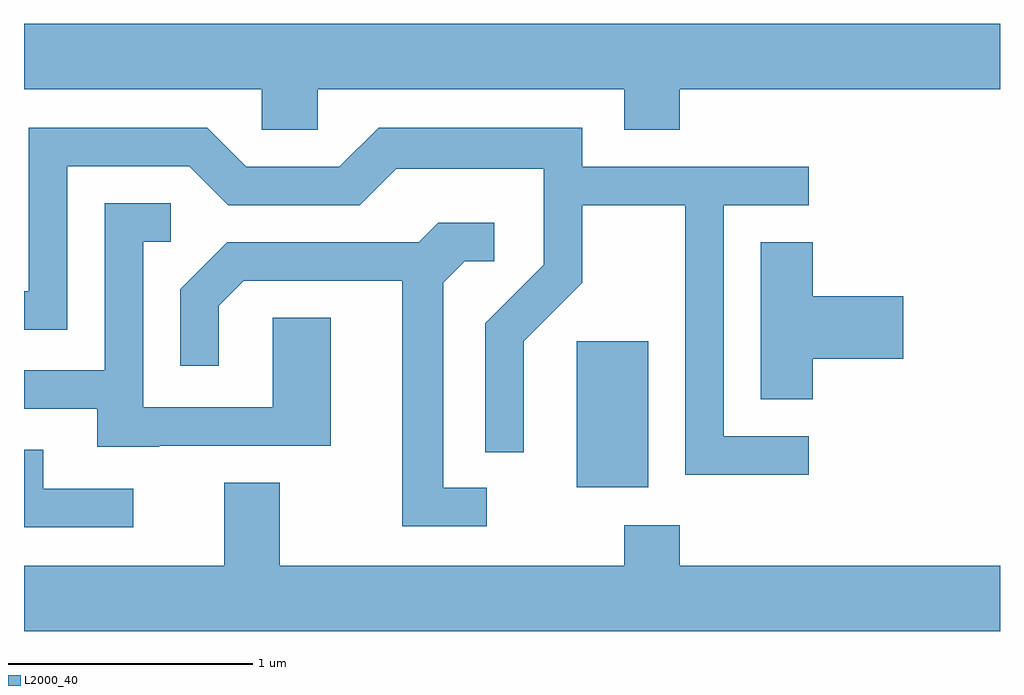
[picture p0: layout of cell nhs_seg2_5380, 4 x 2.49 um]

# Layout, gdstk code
import gdstk
lib = gdstk.Library(unit=1e-6, precision=1e-09)
def R(c, l, rs):  # rectangles x0, y0, x1, y1
    for r in rs: c.add(gdstk.rectangle(r[:2], r[2:], *l))
def P(c, l, *ps):  # polygons
    for p in ps: c.add(gdstk.Polygon(p, *l))
L2000_40 = (2000, 40)

nhs_seg2_5380 = lib.new_cell('nhs_seg2_5380')
R(nhs_seg2_5380, L2000_40, [(345.876,1055.566,346.169,1056.164)])
P(nhs_seg2_5380, L2000_40, [(344.814,1057.196),(346.071,1057.196),(346.071,1057.031),(346.299,1057.031),(346.299,1057.196),(347.611,1057.196),(347.611,1057.464),(343.611,1057.464),(343.611,1057.196),(344.586,1057.196),(344.586,1057.031),(344.814,1057.031)],
  [(346.828,1055.774),(346.479,1055.774),(346.479,1056.721),(346.828,1056.721),(346.828,1056.879),(345.899,1056.879),(345.899,1057.039),(345.064,1057.039),(344.904,1056.879),(344.522,1056.879),(344.362,1057.039),(343.631,1057.039),(343.631,1056.369),(343.611,1056.369),(343.611,1056.211),(343.789,1056.211),(343.789,1056.881),(344.289,1056.881),(344.449,1056.721),(344.987,1056.721),(345.137,1056.871),(345.741,1056.871),(345.741,1056.477),(345.501,1056.237),(345.501,1055.708),(345.659,1055.708),(345.659,1056.164),(345.899,1056.404),(345.899,1056.721),(346.321,1056.721),(346.321,1055.616),(346.828,1055.616)],
  [(344.165,1055.736),(344.869,1055.736),(344.869,1056.259),(344.631,1056.259),(344.631,1055.894),(344.099,1055.894),(344.099,1056.571),(344.213,1056.571),(344.213,1056.729),(343.941,1056.729),(343.941,1056.044),(343.611,1056.044),(343.611,1055.886),(343.911,1055.886),(343.911,1055.731),(344.165,1055.731)],
  [(345.508,1055.564),(345.329,1055.564),(345.329,1056.404),(345.417,1056.491),(345.538,1056.491),(345.538,1056.649),(345.309,1056.649),(345.229,1056.569),(344.444,1056.569),(344.251,1056.377),(344.251,1056.063),(344.409,1056.063),(344.409,1056.309),(344.512,1056.411),(345.161,1056.411),(345.161,1055.406),(345.508,1055.406)],
  [(346.844,1056.091),(347.214,1056.091),(347.214,1056.349),(346.844,1056.349),(346.844,1056.569),(346.631,1056.569),(346.631,1055.926),(346.844,1055.926)],
  [(344.058,1055.559),(343.689,1055.559),(343.689,1055.719),(343.611,1055.719),(343.611,1055.401),(344.058,1055.401)],
  [(347.611,1055.244),(346.299,1055.244),(346.299,1055.409),(346.071,1055.409),(346.071,1055.244),(344.659,1055.244),(344.659,1055.584),(344.431,1055.584),(344.431,1055.244),(343.611,1055.244),(343.611,1054.976),(347.611,1054.976)])

lib.write_gds('nhs_seg2_5380.gds')
